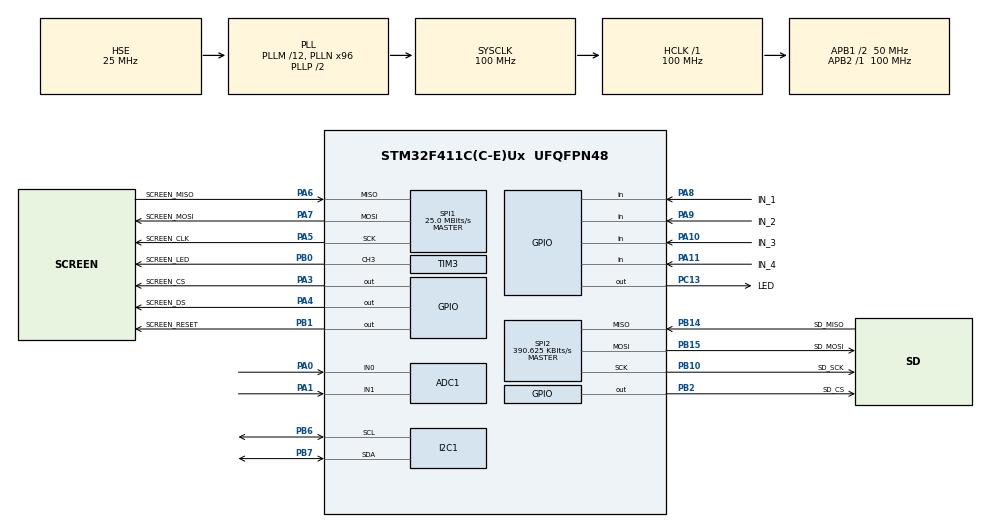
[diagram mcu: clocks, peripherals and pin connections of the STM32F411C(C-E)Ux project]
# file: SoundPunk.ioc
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ADC1.Channel-1\#ChannelRegularConversion=ADC_CHANNEL_0
ADC1.Channel-2\#ChannelRegularConversion=ADC_CHANNEL_1
ADC1.ContinuousConvMode=ENABLE
ADC1.DMAContinuousRequests=ENABLE
ADC1.EOCSelection=ADC_EOC_SEQ_CONV
ADC1.InjNumberOfConversion=0
ADC1.NbrOfConversion=2
ADC1.NbrOfConversionFlag=1
ADC1.Rank-1\#ChannelRegularConversion=1
ADC1.Rank-2\#ChannelRegularConversion=2
ADC1.SamplingTime-1\#ChannelRegularConversion=ADC_SAMPLETIME_144CYCLES
ADC1.SamplingTime-2\#ChannelRegularConversion=ADC_SAMPLETIME_144CYCLES
ADC1.master=1
Dma.ADC1.0.Direction=DMA_PERIPH_TO_MEMORY
Dma.ADC1.0.FIFOMode=DMA_FIFOMODE_DISABLE
Dma.ADC1.0.Instance=DMA2_Stream0
Dma.ADC1.0.MemDataAlignment=DMA_MDATAALIGN_HALFWORD
Dma.ADC1.0.MemInc=DMA_MINC_ENABLE
Dma.ADC1.0.Mode=DMA_CIRCULAR
Dma.ADC1.0.PeriphDataAlignment=DMA_PDATAALIGN_HALFWORD
Dma.ADC1.0.PeriphInc=DMA_PINC_DISABLE
Dma.ADC1.0.Priority=DMA_PRIORITY_LOW
Dma.Request0=ADC1
Mcu.Family=STM32F4
Mcu.Name=STM32F411C(C-E)Ux
Mcu.Package=UFQFPN48
NVIC.DMA2_Stream0_IRQn=true\:0\:0\:false\:false\:true\:false\:true\:true
NVIC.PriorityGroup=NVIC_PRIORITYGROUP_4
PA0-WKUP.Signal=ADCx_IN0
PA1.Signal=ADCx_IN1
PA10.GPIO_Label=IN_3
PA10.Signal=GPIO_Input
PA11.GPIO_Label=IN_4
PA11.Signal=GPIO_Input
PA13.Mode=Trace_Asynchronous_SW
PA13.Signal=SYS_JTMS-SWDIO
PA14.Mode=Trace_Asynchronous_SW
PA14.Signal=SYS_JTCK-SWCLK
PA3.GPIO_Label=SCREEN_CS
PA3.GPIO_Speed=GPIO_SPEED_FREQ_HIGH
PA3.Signal=GPIO_Output
PA4.GPIO_Label=SCREEN_DS
PA4.GPIO_Speed=GPIO_SPEED_FREQ_HIGH
PA4.Signal=GPIO_Output
PA5.GPIO_Label=SCREEN_CLK
PA5.Mode=Full_Duplex_Master
PA5.Signal=SPI1_SCK
PA6.GPIO_Label=SCREEN_MISO
PA6.Mode=Full_Duplex_Master
PA6.Signal=SPI1_MISO
PA7.GPIO_Label=SCREEN_MOSI
PA7.Mode=Full_Duplex_Master
PA7.Signal=SPI1_MOSI
PA8.GPIO_Label=IN_1
PA8.Signal=GPIO_Input
PA9.GPIO_Label=IN_2
PA9.Signal=GPIO_Input
PB0.GPIO_Label=SCREEN_LED
PB0.Signal=S_TIM3_CH3
PB1.GPIO_Label=SCREEN_RESET
PB1.PinState=GPIO_PIN_SET
PB1.Signal=GPIO_Output
PB10.GPIO_Label=SD_SCK
PB10.Mode=Full_Duplex_Master
PB10.Signal=SPI2_SCK
PB14.GPIO_Label=SD_MISO
PB14.Mode=Full_Duplex_Master
PB14.Signal=SPI2_MISO
PB15.GPIO_Label=SD_MOSI
PB15.Mode=Full_Duplex_Master
PB15.Signal=SPI2_MOSI
PB2.GPIO_Label=SD_CS
PB2.GPIO_Speed=GPIO_SPEED_FREQ_HIGH
PB2.Signal=GPIO_Output
PB3.Mode=Trace_Asynchronous_SW
PB3.Signal=SYS_JTDO-SWO
PB6.Mode=I2C
PB6.Signal=I2C1_SCL
PB7.Mode=I2C
PB7.Signal=I2C1_SDA
PC13-ANTI_TAMP.GPIO_Label=LED
PC13-ANTI_TAMP.Signal=GPIO_Output
PC14-OSC32_IN.Mode=LSE-External-Oscillator
PC14-OSC32_IN.Signal=RCC_OSC32_IN
PC15-OSC32_OUT.Mode=LSE-External-Oscillator
PC15-OSC32_OUT.Signal=RCC_OSC32_OUT
PH0\ -\ OSC_IN.Mode=HSE-External-Oscillator
PH0\ -\ OSC_IN.Signal=RCC_OSC_IN
PH1\ -\ OSC_OUT.Mode=HSE-External-Oscillator
PH1\ -\ OSC_OUT.Signal=RCC_OSC_OUT
ProjectManager.HeapSize=0x200
ProjectManager.StackSize=0x400
ProjectManager.TargetToolchain=STM32CubeIDE
RCC.48MHZClocksFreq_Value=50000000
RCC.AHBFreq_Value=100000000
RCC.APB1CLKDivider=RCC_HCLK_DIV2
RCC.APB1Freq_Value=50000000
RCC.APB1TimFreq_Value=100000000
RCC.APB2Freq_Value=100000000
RCC.APB2TimFreq_Value=100000000
RCC.CortexFreq_Value=100000000
RCC.HCLKFreq_Value=100000000
RCC.HSE_VALUE=25000000
RCC.HSI_VALUE=16000000
RCC.PLLM=12
RCC.PLLN=96
RCC.PLLSourceVirtual=RCC_PLLSOURCE_HSE
RCC.RCC_RTC_Clock_Source=RCC_RTCCLKSOURCE_LSE
RCC.RCC_RTC_Clock_SourceVirtual=RCC_RTCCLKSOURCE_LSE
RCC.SYSCLKFreq_VALUE=100000000
RCC.SYSCLKSource=RCC_SYSCLKSOURCE_PLLCLK
RCC.VCOOutputFreq_Value=200000000
RTC.Date=7
RTC.Format=RTC_FORMAT_BIN
RTC.Hours=17
RTC.Minutes=46
RTC.Month=RTC_MONTH_JUNE
RTC.StoreOperation=RTC_STOREOPERATION_SET
RTC.WeekDay=RTC_WEEKDAY_SUNDAY
RTC.Year=26
SH.ADCx_IN0.0=ADC1_IN0,IN0
SH.ADCx_IN1.0=ADC1_IN1,IN1
SH.S_TIM3_CH3.0=TIM3_CH3,PWM Generation3 CH3
SPI1.BaudRatePrescaler=SPI_BAUDRATEPRESCALER_4
SPI1.CalculateBaudRate=25.0 MBits/s
SPI1.Direction=SPI_DIRECTION_2LINES
SPI1.Mode=SPI_MODE_MASTER
SPI1.VirtualType=VM_MASTER
SPI2.BaudRatePrescaler=SPI_BAUDRATEPRESCALER_128
SPI2.CalculateBaudRate=390.625 KBits/s
SPI2.Direction=SPI_DIRECTION_2LINES
SPI2.Mode=SPI_MODE_MASTER
SPI2.VirtualType=VM_MASTER
TIM3.Channel-PWM\ Generation3\ CH3=TIM_CHANNEL_3
TIM3.Period=100
TIM3.Prescaler=9
VP_FATFS_VS_Generic.Mode=User_defined
VP_RTC_VS_RTC_Activate.Mode=RTC_Enabled
VP_RTC_VS_RTC_Calendar.Mode=RTC_Calendar
board=custom

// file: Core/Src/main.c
/* USER CODE BEGIN Header */
/**
  ******************************************************************************
  * @file           : main.c
  * @brief          : Main program body
  ******************************************************************************
  * @attention
  *
  * Copyright (c) 2026 STMicroelectronics.
  * All rights reserved.
  *
  * This software is licensed under terms that can be found in the LICENSE file
  * in the root directory of this software component.
  * If no LICENSE file comes with this software, it is provided AS-IS.
  *
  ******************************************************************************
  */
/* USER CODE END Header */
#include "main.h"
#include "fatfs.h"

/* USER CODE BEGIN Includes */

#define MAIN_TEXT_SIZE 14
#define ADC_DMA_BUFFER_SIZE 200
#define titleSize 17

/* USER CODE END Includes */

ADC_HandleTypeDef hadc1;
DMA_HandleTypeDef hdma_adc1;

I2C_HandleTypeDef hi2c1;

RTC_HandleTypeDef hrtc;

SPI_HandleTypeDef hspi1;
SPI_HandleTypeDef hspi2;

TIM_HandleTypeDef htim3;

void SystemClock_Config(void);
static void MX_GPIO_Init(void);
static void MX_DMA_Init(void);
static void MX_I2C1_Init(void);
static void MX_SPI1_Init(void);
static void MX_SPI2_Init(void);
static void MX_ADC1_Init(void);
static void MX_RTC_Init(void);
static void MX_TIM3_Init(void);

/* USER CODE BEGIN 0 */

uint8_t isPartOfImageSent = 0;
uint8_t mainTextBuffer[MAX_LOAD_SIZE], titleTextBuffer[MAX_LOAD_SIZE], subTextBuffer[MAX_LOAD_SIZE], tempBuffer[MAX_LOAD_SIZE];
DSTATUS isSDCardInitialized = 1;
PLAY_MODE playMode = NONE, currentActivePin = NONE;
const uint8_t mainTextPosition = 3, subtextPosition = 11, titlePosition = 1;
const char analogTitle[titleSize] = "Analog      %d %s";
const char bluetoothTitle[titleSize] = "Bluetooth  %d %s";
const char radioTitle[titleSize] = "Radio       %d %s";

uint16_t textColor = 0b000000001111, adcParamValue = 0, lastAdcParamValue = 0, batteryValue = 0;
uint16_t adcDmaBuffer[ADC_DMA_BUFFER_SIZE];
uint8_t isPrecisionMode = 0, radioHighValue = 76, radioLowValue = 0, lastMinuteValue = 0, brightness = 0;
RTC_TimeTypeDef sTime;
RTC_DateTypeDef sDate;

void sendImageToDisplay(uint8_t* data, uint32_t len, uint16_t iterationNumber) {
	if (iterationNumber == titlePosition) {
		memcpy(titleTextBuffer, data, MAX_LOAD_SIZE);
	}
	if (iterationNumber == mainTextPosition) {
		memcpy(mainTextBuffer, data, MAX_LOAD_SIZE);
	}
	if (iterationNumber == subtextPosition) {
		memcpy(subTextBuffer, data, MAX_LOAD_SIZE);
	}
	displayImage(data, len, isPartOfImageSent);
	isPartOfImageSent = 1;
}

char* updateTitleTextOnScreen() {

	char title[titleSize];
	uint16_t offset = 40;

	memset(title, ' ', sizeof(title));

	switch(currentActivePin) {
		case RADIO: {
			strncpy(title, radioTitle, sizeof(radioTitle));
			break;
	  	}
	  	case BLUETOOTH: {
	  		strncpy(title, bluetoothTitle, sizeof(bluetoothTitle));
	  		break;
	  	}
	  	case ANALOG: {
	  		strncpy(title, analogTitle, sizeof(analogTitle));
	  		break;
	  	}
	}

	char resultTitle[titleSize];
	memset(resultTitle, ' ', sizeof(resultTitle));

	sprintf(resultTitle, title, batteryValue, "%");

	memcpy(tempBuffer, titleTextBuffer, MAX_LOAD_SIZE);
	setTextToImage(resultTitle, sizeof(resultTitle), 2, tempBuffer, offset, textColor);
	displayPartOfImage((IMAGE_HEIGHT_PIXELS / 2) * titlePosition, tempBuffer, MAX_LOAD_SIZE, IMAGE_HEIGHT_PIXELS);
}

void updateMainTextOnScreen() {
	char text[20];
	uint16_t imageOffsetX = 0, textSize = 1;
	memset(text, ' ', sizeof(text));

	if(currentActivePin == RADIO) {
		float raioValue = radioHighValue + (((float)radioLowValue) / 10);

		rda_init(&hi2c1, raioValue, 1, 0, 1, 0);

		sprintf(text, "%d.%d MHz", radioHighValue, radioLowValue);
		imageOffsetX = 50;
		textSize = 3;
	} else {
		sprintf(text, "%02d:%02d", sTime.Hours, sTime.Minutes);
		imageOffsetX = 75;
		textSize = 3;
	}

	memcpy(tempBuffer, mainTextBuffer, MAX_LOAD_SIZE);
	setTextToImage(text, sizeof(text), textSize, tempBuffer, imageOffsetX, textColor);
	displayPartOfImage((IMAGE_HEIGHT_PIXELS / 2) * mainTextPosition, tempBuffer, MAX_LOAD_SIZE, IMAGE_HEIGHT_PIXELS);
}

void updateDateOnScreen() {
	char text[20];
	memset(text, ' ', sizeof(text));
	sprintf(text, "%02d:%02d:%d", sDate.Date, sDate.Month, ((uint16_t) sDate.Year) + 2000);

	memcpy(tempBuffer, subTextBuffer, MAX_LOAD_SIZE);
	setTextToImage(text, sizeof(text), 2, tempBuffer, 100, textColor);
	displayPartOfImage((IMAGE_HEIGHT_PIXELS / 2) * subtextPosition, tempBuffer, MAX_LOAD_SIZE, IMAGE_HEIGHT_PIXELS);
}

void HAL_ADC_ConvHalfCpltCallback(ADC_HandleTypeDef* hadc) {
	processAdcDma(0, ADC_DMA_BUFFER_SIZE / 2);
}

void HAL_ADC_ConvCpltCallback(ADC_HandleTypeDef* hadc) {
	processAdcDma(ADC_DMA_BUFFER_SIZE / 2, ADC_DMA_BUFFER_SIZE);
}

void processAdcDma(uint32_t start, uint32_t end) {
	uint32_t temp = 0, tempParam = 0;

	for(uint32_t i = start; i < end; i += 2) {
		tempParam += adcDmaBuffer[i];
		temp += adcDmaBuffer[i + 1];
	}

	uint16_t tempAdcValue = tempParam / (ADC_DMA_BUFFER_SIZE / 4);
	if (adcParamValue + 80 < tempAdcValue || tempAdcValue < adcParamValue - 80) {
		adcParamValue = tempAdcValue;
	}
	double tempBattery = (((double) (temp / (ADC_DMA_BUFFER_SIZE / 4) + 60)) / 4095) * 198;
	batteryValue = tempBattery > 90 ? (uint16_t) (((tempBattery - 90) / 36) * 100) : 0;
}

void handleCurrentActivePinsState() {
	if(HAL_GPIO_ReadPin(IN_2_GPIO_Port, IN_2_Pin)) {
		currentActivePin = RADIO;
	}

	if(HAL_GPIO_ReadPin(IN_3_GPIO_Port, IN_3_Pin)) {
		currentActivePin = ANALOG;
	}

	if(HAL_GPIO_ReadPin(IN_4_GPIO_Port, IN_4_Pin)) {
		currentActivePin = BLUETOOTH;
	}
	isPrecisionMode = HAL_GPIO_ReadPin(IN_1_GPIO_Port, IN_1_Pin);
}

void updateTime() {
	HAL_RTC_GetTime(&hrtc, &sTime, RTC_FORMAT_BIN);
	HAL_RTC_GetDate(&hrtc, &sDate, RTC_FORMAT_BIN);

	if (isPrecisionMode) {
		sTime.Minutes = (uint8_t) ((((double) adcParamValue) / 4095) * 61);
	} else {
		sTime.Hours = (uint8_t) ((((double) adcParamValue) / 4095) * 25);
	}

    sTime.Seconds = 0;

    HAL_RTC_SetTime(&hrtc, &sTime, RTC_FORMAT_BIN);

    HAL_RTC_SetDate(&hrtc, &sDate, RTC_FORMAT_BIN);
}

/* USER CODE END 0 */

int main(void)
{

  /* MCU Configuration--------------------------------------------------------*/

  /* Reset of all peripherals, Initializes the Flash interface and the Systick. */
  HAL_Init();

  /* Configure the system clock */
  SystemClock_Config();

  /* Initialize all configured peripherals */
  MX_GPIO_Init();
  MX_DMA_Init();
  MX_I2C1_Init();
  MX_SPI1_Init();
  MX_SPI2_Init();
  MX_FATFS_Init();
  MX_ADC1_Init();
  MX_RTC_Init();
  MX_TIM3_Init();
  /* USER CODE BEGIN 2 */

  SEGGER_RTT_Init();
  HAL_TIM_PWM_Start(&htim3, TIM_CHANNEL_3);

  /* USER CODE END 2 */

  /* Infinite loop */
  /* USER CODE BEGIN WHILE */
  uint32_t count = 0, nextTick = 0;

  HAL_ADC_Start_DMA(&hadc1, adcDmaBuffer, ADC_DMA_BUFFER_SIZE);

  HAL_Delay(500);

  radioHighValue = HAL_RTCEx_BKUPRead(&hrtc, RTC_BKP_DR2);
  radioLowValue = HAL_RTCEx_BKUPRead(&hrtc, RTC_BKP_DR3);
  brightness = HAL_RTCEx_BKUPRead(&hrtc, RTC_BKP_DR4);

  __HAL_TIM_SET_COMPARE(&htim3, TIM_CHANNEL_3, brightness);

  displayInit();

  SEGGER_RTT_printf(0, "Disk init start - %d\n", isSDCardInitialized);
  isSDCardInitialized = disk_initialize(0);
  SEGGER_RTT_printf(0, "Disk init result - %d\n", isSDCardInitialized);

  HAL_SPI_DeInit(&hspi2);
  hspi2.Init.BaudRatePrescaler = SPI_BAUDRATEPRESCALER_2;
  HAL_SPI_Init(&hspi2);

  fs_list_root("");

  HAL_Delay(500);

  while (1)
  {

	  if(nextTick <= uwTick) {
		  HAL_RTC_GetTime(&hrtc, &sTime, RTC_FORMAT_BIN);
		  HAL_RTC_GetDate(&hrtc, &sDate, RTC_FORMAT_BIN);

		  if(sTime.Minutes != lastMinuteValue && currentActivePin != RADIO){
			  lastMinuteValue = sTime.Minutes;
			  updateMainTextOnScreen();
		  }

		  nextTick = uwTick + 1000;
		  count++;
	  }

	  if (count % 5 == 0) { // update battery percentage
		  updateTitleTextOnScreen();
		  count++;
	  }

	  handleCurrentActivePinsState();
	  if(currentActivePin != playMode) {
		  playMode = currentActivePin;
		  char* imagePath;

		  switch(currentActivePin) {
			case RADIO: {
				imagePath = "1/2.bin";
				textColor = 0b000000001111;
				break;
			}
			case BLUETOOTH: {
				imagePath = "2/1.bin";
				textColor = 0b000000001111;
				break;
			}
			case ANALOG: {
				imagePath = "3/3.bin";
				textColor = 0b000000001111;
				break;
			}
		  }

		  if(isSDCardInitialized == 0) {
			read_file(imagePath, sendImageToDisplay);
			isPartOfImageSent = 0;
		  } else {
			SEGGER_RTT_printf(0, "Disk init failed\n");
		  }

		  updateTitleTextOnScreen();
		  updateMainTextOnScreen();
		  updateDateOnScreen();
	  }

	  if(lastAdcParamValue != adcParamValue) {
	  	  if (lastAdcParamValue != 0) {
	  		  if (currentActivePin == RADIO) {
	  			  if (isPrecisionMode) {
	  				  radioHighValue = (uint8_t) ((((double) adcParamValue) / 4095) * 33) + 76;
	  			  } else {
	  				  radioLowValue = (uint8_t) ((((double) adcParamValue) / 4095) * 10);
	  			  }
	  			  HAL_RTCEx_BKUPWrite(&hrtc, RTC_BKP_DR2, radioHighValue);
	  			  HAL_RTCEx_BKUPWrite(&hrtc, RTC_BKP_DR3, radioLowValue);
			  	  updateMainTextOnScreen();
	  		  }

			  if (currentActivePin == ANALOG) {
			  	  updateTime();
			  	  updateMainTextOnScreen();
		  	  }

			  if (currentActivePin == BLUETOOTH) {
				  uint16_t brightness = (uint16_t) ((((double) adcParamValue) / 4095) * 100);
	  			  HAL_RTCEx_BKUPWrite(&hrtc, RTC_BKP_DR4, brightness);
				  __HAL_TIM_SET_COMPARE(&htim3, TIM_CHANNEL_3, brightness);
			  }
		  }
		  lastAdcParamValue = adcParamValue;
	  }

    /* USER CODE END WHILE */

  }
}

void SystemClock_Config(void)
{
  RCC_OscInitTypeDef RCC_OscInitStruct = {0};
  RCC_ClkInitTypeDef RCC_ClkInitStruct = {0};

  /** Configure the main internal regulator output voltage
  */
  __HAL_RCC_PWR_CLK_ENABLE();
  __HAL_PWR_VOLTAGESCALING_CONFIG(PWR_REGULATOR_VOLTAGE_SCALE1);

  /** Initializes the RCC Oscillators according to the specified parameters
  * in the RCC_OscInitTypeDef structure.
  */
  RCC_OscInitStruct.OscillatorType = RCC_OSCILLATORTYPE_HSE|RCC_OSCILLATORTYPE_LSE;
  RCC_OscInitStruct.HSEState = RCC_HSE_ON;
  RCC_OscInitStruct.LSEState = RCC_LSE_ON;
  RCC_OscInitStruct.PLL.PLLState = RCC_PLL_ON;
  RCC_OscInitStruct.PLL.PLLSource = RCC_PLLSOURCE_HSE;
  RCC_OscInitStruct.PLL.PLLM = 12;
  RCC_OscInitStruct.PLL.PLLN = 96;
  RCC_OscInitStruct.PLL.PLLP = RCC_PLLP_DIV2;
  RCC_OscInitStruct.PLL.PLLQ = 4;
  if (HAL_RCC_OscConfig(&RCC_OscInitStruct) != HAL_OK)
  {
    Error_Handler();
  }

  /** Initializes the CPU, AHB and APB buses clocks
  */
  RCC_ClkInitStruct.ClockType = RCC_CLOCKTYPE_HCLK|RCC_CLOCKTYPE_SYSCLK
                              |RCC_CLOCKTYPE_PCLK1|RCC_CLOCKTYPE_PCLK2;
  RCC_ClkInitStruct.SYSCLKSource = RCC_SYSCLKSOURCE_PLLCLK;
  RCC_ClkInitStruct.AHBCLKDivider = RCC_SYSCLK_DIV1;
  RCC_ClkInitStruct.APB1CLKDivider = RCC_HCLK_DIV2;
  RCC_ClkInitStruct.APB2CLKDivider = RCC_HCLK_DIV1;

  if (HAL_RCC_ClockConfig(&RCC_ClkInitStruct, FLASH_LATENCY_3) != HAL_OK)
  {
    Error_Handler();
  }
}

static void MX_ADC1_Init(void)
{

  ADC_ChannelConfTypeDef sConfig = {0};

  /** Configure the global features of the ADC (Clock, Resolution, Data Alignment and number of conversion)
  */
  hadc1.Instance = ADC1;
  hadc1.Init.ClockPrescaler = ADC_CLOCK_SYNC_PCLK_DIV4;
  hadc1.Init.Resolution = ADC_RESOLUTION_12B;
  hadc1.Init.ScanConvMode = ENABLE;
  hadc1.Init.ContinuousConvMode = ENABLE;
  hadc1.Init.DiscontinuousConvMode = DISABLE;
  hadc1.Init.ExternalTrigConvEdge = ADC_EXTERNALTRIGCONVEDGE_NONE;
  hadc1.Init.ExternalTrigConv = ADC_SOFTWARE_START;
  hadc1.Init.DataAlign = ADC_DATAALIGN_RIGHT;
  hadc1.Init.NbrOfConversion = 2;
  hadc1.Init.DMAContinuousRequests = ENABLE;
  hadc1.Init.EOCSelection = ADC_EOC_SEQ_CONV;
  if (HAL_ADC_Init(&hadc1) != HAL_OK)
  {
    Error_Handler();
  }

  /** Configure for the selected ADC regular channel its corresponding rank in the sequencer and its sample time.
  */
  sConfig.Channel = ADC_CHANNEL_0;
  sConfig.Rank = 1;
  sConfig.SamplingTime = ADC_SAMPLETIME_144CYCLES;
  if (HAL_ADC_ConfigChannel(&hadc1, &sConfig) != HAL_OK)
  {
    Error_Handler();
  }

  /** Configure for the selected ADC regular channel its corresponding rank in the sequencer and its sample time.
  */
  sConfig.Channel = ADC_CHANNEL_1;
  sConfig.Rank = 2;
  if (HAL_ADC_ConfigChannel(&hadc1, &sConfig) != HAL_OK)
  {
    Error_Handler();
  }

}

static void MX_I2C1_Init(void)
{

  hi2c1.Instance = I2C1;
  hi2c1.Init.ClockSpeed = 100000;
  hi2c1.Init.DutyCycle = I2C_DUTYCYCLE_2;
  hi2c1.Init.OwnAddress1 = 0;
  hi2c1.Init.AddressingMode = I2C_ADDRESSINGMODE_7BIT;
  hi2c1.Init.DualAddressMode = I2C_DUALADDRESS_DISABLE;
  hi2c1.Init.OwnAddress2 = 0;
  hi2c1.Init.GeneralCallMode = I2C_GENERALCALL_DISABLE;
  hi2c1.Init.NoStretchMode = I2C_NOSTRETCH_DISABLE;
  if (HAL_I2C_Init(&hi2c1) != HAL_OK)
  {
    Error_Handler();
  }

}

static void MX_RTC_Init(void)
{

  RTC_TimeTypeDef sTime = {0};
  RTC_DateTypeDef sDate = {0};

  /** Initialize RTC Only
  */
  hrtc.Instance = RTC;
  hrtc.Init.HourFormat = RTC_HOURFORMAT_24;
  hrtc.Init.AsynchPrediv = 127;
  hrtc.Init.SynchPrediv = 255;
  hrtc.Init.OutPut = RTC_OUTPUT_DISABLE;
  hrtc.Init.OutPutPolarity = RTC_OUTPUT_POLARITY_HIGH;
  hrtc.Init.OutPutType = RTC_OUTPUT_TYPE_OPENDRAIN;
  if (HAL_RTC_Init(&hrtc) != HAL_OK)
  {
    Error_Handler();
  }

  /* USER CODE BEGIN Check_RTC_BKUP */
  if (HAL_RTCEx_BKUPRead(&hrtc, RTC_BKP_DR1) != 0x7777)
  {
      sTime.Hours = 17;
      sTime.Minutes = 46;
      sTime.Seconds = 0;

      HAL_RTC_SetTime(&hrtc, &sTime, RTC_FORMAT_BIN);

      sDate.WeekDay = RTC_WEEKDAY_SUNDAY;
      sDate.Month = RTC_MONTH_JUNE;
      sDate.Date = 7;
      sDate.Year = 26;

      HAL_RTC_SetDate(&hrtc, &sDate, RTC_FORMAT_BIN);

      HAL_RTCEx_BKUPWrite(&hrtc, RTC_BKP_DR1, 0x7777);
  }
  /* USER CODE END Check_RTC_BKUP */

  /** Initialize RTC and set the Time and Date
  */

}

static void MX_SPI1_Init(void)
{

  /* SPI1 parameter configuration*/
  hspi1.Instance = SPI1;
  hspi1.Init.Mode = SPI_MODE_MASTER;
  hspi1.Init.Direction = SPI_DIRECTION_2LINES;
  hspi1.Init.DataSize = SPI_DATASIZE_8BIT;
  hspi1.Init.CLKPolarity = SPI_POLARITY_LOW;
  hspi1.Init.CLKPhase = SPI_PHASE_1EDGE;
  hspi1.Init.NSS = SPI_NSS_SOFT;
  hspi1.Init.BaudRatePrescaler = SPI_BAUDRATEPRESCALER_4;
  hspi1.Init.FirstBit = SPI_FIRSTBIT_MSB;
  hspi1.Init.TIMode = SPI_TIMODE_DISABLE;
  hspi1.Init.CRCCalculation = SPI_CRCCALCULATION_DISABLE;
  hspi1.Init.CRCPolynomial = 10;
  if (HAL_SPI_Init(&hspi1) != HAL_OK)
  {
    Error_Handler();
  }

}

static void MX_SPI2_Init(void)
{

  /* SPI2 parameter configuration*/
  hspi2.Instance = SPI2;
  hspi2.Init.Mode = SPI_MODE_MASTER;
  hspi2.Init.Direction = SPI_DIRECTION_2LINES;
  hspi2.Init.DataSize = SPI_DATASIZE_8BIT;
  hspi2.Init.CLKPolarity = SPI_POLARITY_LOW;
  hspi2.Init.CLKPhase = SPI_PHASE_1EDGE;
  hspi2.Init.NSS = SPI_NSS_SOFT;
  hspi2.Init.BaudRatePrescaler = SPI_BAUDRATEPRESCALER_128;
  hspi2.Init.FirstBit = SPI_FIRSTBIT_MSB;
  hspi2.Init.TIMode = SPI_TIMODE_DISABLE;
  hspi2.Init.CRCCalculation = SPI_CRCCALCULATION_DISABLE;
  hspi2.Init.CRCPolynomial = 10;
  if (HAL_SPI_Init(&hspi2) != HAL_OK)
  {
    Error_Handler();
  }

}

static void MX_TIM3_Init(void)
{

  TIM_MasterConfigTypeDef sMasterConfig = {0};
  TIM_OC_InitTypeDef sConfigOC = {0};

  htim3.Instance = TIM3;
  htim3.Init.Prescaler = 9;
  htim3.Init.CounterMode = TIM_COUNTERMODE_UP;
  htim3.Init.Period = 100;
  htim3.Init.ClockDivision = TIM_CLOCKDIVISION_DIV1;
  htim3.Init.AutoReloadPreload = TIM_AUTORELOAD_PRELOAD_DISABLE;
  if (HAL_TIM_PWM_Init(&htim3) != HAL_OK)
  {
    Error_Handler();
  }
  sMasterConfig.MasterOutputTrigger = TIM_TRGO_RESET;
  sMasterConfig.MasterSlaveMode = TIM_MASTERSLAVEMODE_DISABLE;
  if (HAL_TIMEx_MasterConfigSynchronization(&htim3, &sMasterConfig) != HAL_OK)
  {
    Error_Handler();
  }
  sConfigOC.OCMode = TIM_OCMODE_PWM1;
  sConfigOC.Pulse = 0;
  sConfigOC.OCPolarity = TIM_OCPOLARITY_HIGH;
  sConfigOC.OCFastMode = TIM_OCFAST_DISABLE;
  if (HAL_TIM_PWM_ConfigChannel(&htim3, &sConfigOC, TIM_CHANNEL_3) != HAL_OK)
  {
    Error_Handler();
  }
  HAL_TIM_MspPostInit(&htim3);

}

static void MX_DMA_Init(void)
{

  /* DMA controller clock enable */
  __HAL_RCC_DMA2_CLK_ENABLE();

  /* DMA interrupt init */
  /* DMA2_Stream0_IRQn interrupt configuration */
  HAL_NVIC_SetPriority(DMA2_Stream0_IRQn, 0, 0);
  HAL_NVIC_EnableIRQ(DMA2_Stream0_IRQn);

}

static void MX_GPIO_Init(void)
{
  GPIO_InitTypeDef GPIO_InitStruct = {0};

  /* GPIO Ports Clock Enable */
  __HAL_RCC_GPIOC_CLK_ENABLE();
  __HAL_RCC_GPIOH_CLK_ENABLE();
  __HAL_RCC_GPIOA_CLK_ENABLE();
  __HAL_RCC_GPIOB_CLK_ENABLE();

  /*Configure GPIO pin Output Level */
  HAL_GPIO_WritePin(LED_GPIO_Port, LED_Pin, GPIO_PIN_RESET);

  /*Configure GPIO pin Output Level */
  HAL_GPIO_WritePin(GPIOA, SCREEN_CS_Pin|SCREEN_DS_Pin, GPIO_PIN_RESET);

  /*Configure GPIO pin Output Level */
  HAL_GPIO_WritePin(SCREEN_RESET_GPIO_Port, SCREEN_RESET_Pin, GPIO_PIN_SET);

  /*Configure GPIO pin Output Level */
  HAL_GPIO_WritePin(SD_CS_GPIO_Port, SD_CS_Pin, GPIO_PIN_RESET);

  /*Configure GPIO pin : LED_Pin */
  GPIO_InitStruct.Pin = LED_Pin;
  GPIO_InitStruct.Mode = GPIO_MODE_OUTPUT_PP;
  GPIO_InitStruct.Pull = GPIO_NOPULL;
  GPIO_InitStruct.Speed = GPIO_SPEED_FREQ_LOW;
  HAL_GPIO_Init(LED_GPIO_Port, &GPIO_InitStruct);

  /*Configure GPIO pins : SCREEN_CS_Pin SCREEN_DS_Pin */
  GPIO_InitStruct.Pin = SCREEN_CS_Pin|SCREEN_DS_Pin;
  GPIO_InitStruct.Mode = GPIO_MODE_OUTPUT_PP;
  GPIO_InitStruct.Pull = GPIO_NOPULL;
  GPIO_InitStruct.Speed = GPIO_SPEED_FREQ_HIGH;
  HAL_GPIO_Init(GPIOA, &GPIO_InitStruct);

  /*Configure GPIO pin : SCREEN_RESET_Pin */
  GPIO_InitStruct.Pin = SCREEN_RESET_Pin;
  GPIO_InitStruct.Mode = GPIO_MODE_OUTPUT_PP;
  GPIO_InitStruct.Pull = GPIO_NOPULL;
  GPIO_InitStruct.Speed = GPIO_SPEED_FREQ_LOW;
  HAL_GPIO_Init(SCREEN_RESET_GPIO_Port, &GPIO_InitStruct);

  /*Configure GPIO pin : SD_CS_Pin */
  GPIO_InitStruct.Pin = SD_CS_Pin;
  GPIO_InitStruct.Mode = GPIO_MODE_OUTPUT_PP;
  GPIO_InitStruct.Pull = GPIO_NOPULL;
  GPIO_InitStruct.Speed = GPIO_SPEED_FREQ_HIGH;
  HAL_GPIO_Init(SD_CS_GPIO_Port, &GPIO_InitStruct);

  /*Configure GPIO pins : IN_1_Pin IN_2_Pin IN_3_Pin IN_4_Pin */
  GPIO_InitStruct.Pin = IN_1_Pin|IN_2_Pin|IN_3_Pin|IN_4_Pin;
  GPIO_InitStruct.Mode = GPIO_MODE_INPUT;
  GPIO_InitStruct.Pull = GPIO_NOPULL;
  HAL_GPIO_Init(GPIOA, &GPIO_InitStruct);

}

void Error_Handler(void)
{
  __disable_irq();
  while (1)
  {
  }
}
